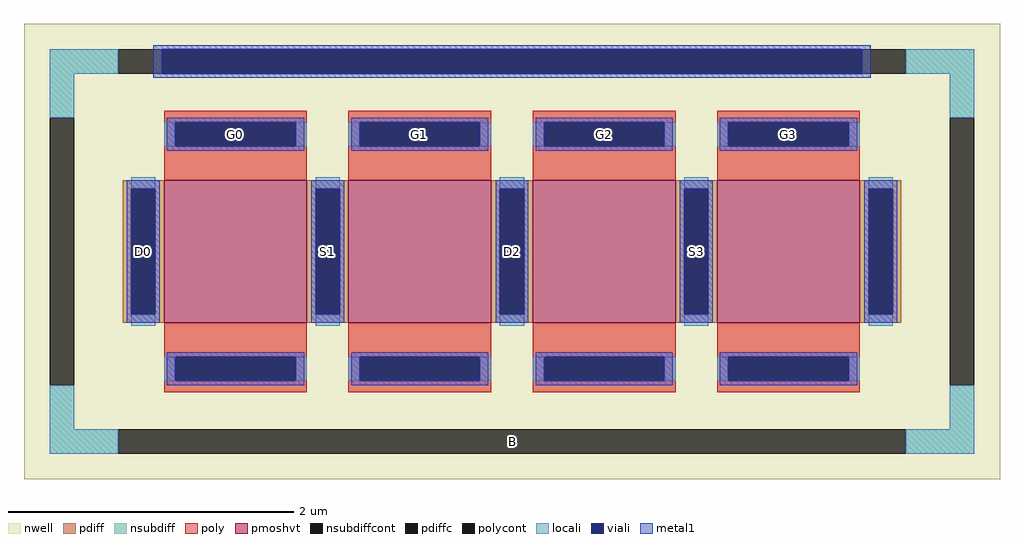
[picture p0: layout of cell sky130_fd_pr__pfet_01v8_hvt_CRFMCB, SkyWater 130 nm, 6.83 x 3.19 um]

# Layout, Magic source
magic
tech sky130A
magscale 1 2
<< nwell >>
rect -683 -319 683 319
<< pmoshvt >>
rect -487 -100 -287 100
rect -229 -100 -29 100
rect 29 -100 229 100
rect 287 -100 487 100
<< pdiff >>
rect -545 88 -487 100
rect -545 -88 -533 88
rect -499 -88 -487 88
rect -545 -100 -487 -88
rect -287 88 -229 100
rect -287 -88 -275 88
rect -241 -88 -229 88
rect -287 -100 -229 -88
rect -29 88 29 100
rect -29 -88 -17 88
rect 17 -88 29 88
rect -29 -100 29 -88
rect 229 88 287 100
rect 229 -88 241 88
rect 275 -88 287 88
rect 229 -100 287 -88
rect 487 88 545 100
rect 487 -88 499 88
rect 533 -88 545 88
rect 487 -100 545 -88
<< pdiffc >>
rect -533 -88 -499 88
rect -275 -88 -241 88
rect -17 -88 17 88
rect 241 -88 275 88
rect 499 -88 533 88
<< nsubdiff >>
rect -647 249 -551 283
rect 551 249 647 283
rect -647 187 -613 249
rect 613 187 647 249
rect -647 -249 -613 -187
rect 613 -249 647 -187
rect -647 -283 -551 -249
rect 551 -283 647 -249
<< nsubdiffcont >>
rect -551 249 551 283
rect -647 -187 -613 187
rect 613 -187 647 187
rect -551 -283 551 -249
<< poly >>
rect -487 181 -287 197
rect -487 147 -471 181
rect -303 147 -287 181
rect -487 100 -287 147
rect -229 181 -29 197
rect -229 147 -213 181
rect -45 147 -29 181
rect -229 100 -29 147
rect 29 181 229 197
rect 29 147 45 181
rect 213 147 229 181
rect 29 100 229 147
rect 287 181 487 197
rect 287 147 303 181
rect 471 147 487 181
rect 287 100 487 147
rect -487 -147 -287 -100
rect -487 -181 -471 -147
rect -303 -181 -287 -147
rect -487 -197 -287 -181
rect -229 -147 -29 -100
rect -229 -181 -213 -147
rect -45 -181 -29 -147
rect -229 -197 -29 -181
rect 29 -147 229 -100
rect 29 -181 45 -147
rect 213 -181 229 -147
rect 29 -197 229 -181
rect 287 -147 487 -100
rect 287 -181 303 -147
rect 471 -181 487 -147
rect 287 -197 487 -181
<< polycont >>
rect -471 147 -303 181
rect -213 147 -45 181
rect 45 147 213 181
rect 303 147 471 181
rect -471 -181 -303 -147
rect -213 -181 -45 -147
rect 45 -181 213 -147
rect 303 -181 471 -147
<< locali >>
rect -647 249 -551 283
rect 551 249 647 283
rect -647 187 -613 249
rect 613 187 647 249
rect -487 147 -471 181
rect -303 147 -287 181
rect -229 147 -213 181
rect -45 147 -29 181
rect 29 147 45 181
rect 213 147 229 181
rect 287 147 303 181
rect 471 147 487 181
rect -533 88 -499 104
rect -533 -104 -499 -88
rect -275 88 -241 104
rect -275 -104 -241 -88
rect -17 88 17 104
rect -17 -104 17 -88
rect 241 88 275 104
rect 241 -104 275 -88
rect 499 88 533 104
rect 499 -104 533 -88
rect -487 -181 -471 -147
rect -303 -181 -287 -147
rect -229 -181 -213 -147
rect -45 -181 -29 -147
rect 29 -181 45 -147
rect 213 -181 229 -147
rect 287 -181 303 -147
rect 471 -181 487 -147
rect -647 -249 -613 -187
rect 613 -249 647 -187
rect -647 -283 -551 -249
rect 551 -283 647 -249
<< viali >>
rect -490 249 490 283
rect -471 147 -303 181
rect -213 147 -45 181
rect 45 147 213 181
rect 303 147 471 181
rect -533 -88 -499 88
rect -275 -88 -241 88
rect -17 -88 17 88
rect 241 -88 275 88
rect 499 -88 533 88
rect -471 -181 -303 -147
rect -213 -181 -45 -147
rect 45 -181 213 -147
rect 303 -181 471 -147
<< metal1 >>
rect -502 283 502 289
rect -502 249 -490 283
rect 490 249 502 283
rect -502 243 502 249
rect -483 181 -291 187
rect -483 147 -471 181
rect -303 147 -291 181
rect -483 141 -291 147
rect -225 181 -33 187
rect -225 147 -213 181
rect -45 147 -33 181
rect -225 141 -33 147
rect 33 181 225 187
rect 33 147 45 181
rect 213 147 225 181
rect 33 141 225 147
rect 291 181 483 187
rect 291 147 303 181
rect 471 147 483 181
rect 291 141 483 147
rect -539 88 -493 100
rect -539 -88 -533 88
rect -499 -88 -493 88
rect -539 -100 -493 -88
rect -281 88 -235 100
rect -281 -88 -275 88
rect -241 -88 -235 88
rect -281 -100 -235 -88
rect -23 88 23 100
rect -23 -88 -17 88
rect 17 -88 23 88
rect -23 -100 23 -88
rect 235 88 281 100
rect 235 -88 241 88
rect 275 -88 281 88
rect 235 -100 281 -88
rect 493 88 539 100
rect 493 -88 499 88
rect 533 -88 539 88
rect 493 -100 539 -88
rect -483 -147 -291 -141
rect -483 -181 -471 -147
rect -303 -181 -291 -147
rect -483 -187 -291 -181
rect -225 -147 -33 -141
rect -225 -181 -213 -147
rect -45 -181 -33 -147
rect -225 -187 -33 -181
rect 33 -147 225 -141
rect 33 -181 45 -147
rect 213 -181 225 -147
rect 33 -187 225 -181
rect 291 -147 483 -141
rect 291 -181 303 -147
rect 471 -181 483 -147
rect 291 -187 483 -181
<< labels >>
rlabel nsubdiffcont 0 -266 0 -266 0 B
port 1 nsew
rlabel pdiffc -516 0 -516 0 0 D0
port 2 nsew
rlabel polycont -387 164 -387 164 0 G0
port 3 nsew
rlabel pdiffc -258 0 -258 0 0 S1
port 4 nsew
rlabel polycont -129 164 -129 164 0 G1
port 5 nsew
rlabel pdiffc 0 0 0 0 0 D2
port 6 nsew
rlabel polycont 129 164 129 164 0 G2
port 7 nsew
rlabel pdiffc 258 0 258 0 0 S3
port 8 nsew
rlabel polycont 387 164 387 164 0 G3
port 9 nsew
<< properties >>
string FIXED_BBOX -630 -266 630 266
string gencell sky130_fd_pr__pfet_01v8_hvt
string library sky130
string parameters w 1 l 1 m 1 nf 4 diffcov 100 polycov 100 guard 1 glc 1 grc 1 gtc 1 gbc 1 tbcov 100 rlcov 100 topc 1 botc 1 poverlap 0 doverlap 1 lmin 0.15 wmin 0.42 class mosfet compatible {sky130_fd_pr__pfet_01v8  sky130_fd_pr__pfet_01v8_lvt sky130_fd_pr__pfet_01v8_hvt  sky130_fd_pr__pfet_g5v0d10v5} full_metal 1 conn_gates 0 viasrc 100 viadrn 100 viagate 100 viagb 0 viagr 0 viagl 0 viagt 80 doports 1
<< end >>
